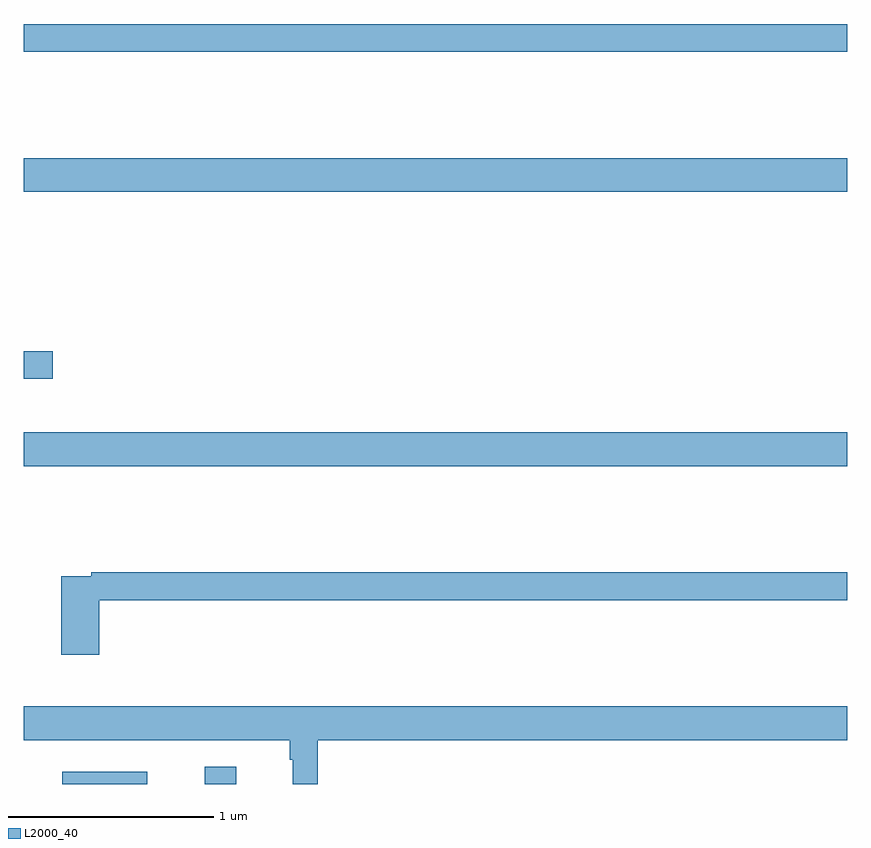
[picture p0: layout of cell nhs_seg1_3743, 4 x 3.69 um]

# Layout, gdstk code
import gdstk
lib = gdstk.Library(unit=1e-6, precision=1e-09)
def R(c, l, rs):  # rectangles x0, y0, x1, y1
    for r in rs: c.add(gdstk.rectangle(r[:2], r[2:], *l))
def P(c, l, *ps):  # polygons
    for p in ps: c.add(gdstk.Polygon(p, *l))
L2000_40 = (2000, 40)

nhs_seg1_3743 = lib.new_cell('nhs_seg1_3743')
R(nhs_seg1_3743, L2000_40, [(315.186,538.199,315.599,538.258), (315.878,538.199,316.033,538.282), (315,539.744,319,539.908), (315,540.167,315.139,540.302), (315,541.076,319,541.24), (315,541.756,319,541.892)])
P(nhs_seg1_3743, L2000_40, [(315.365,539.092),(319,539.092),(319,539.228),(315.328,539.228),(315.328,539.208),(315.182,539.208),(315.182,538.827),(315.365,538.827)],
  [(316.427,538.412),(319,538.412),(319,538.576),(315,538.576),(315,538.412),(316.291,538.412),(316.291,538.316),(316.306,538.316),(316.306,538.199),(316.427,538.199)])

lib.write_gds('nhs_seg1_3743.gds')
